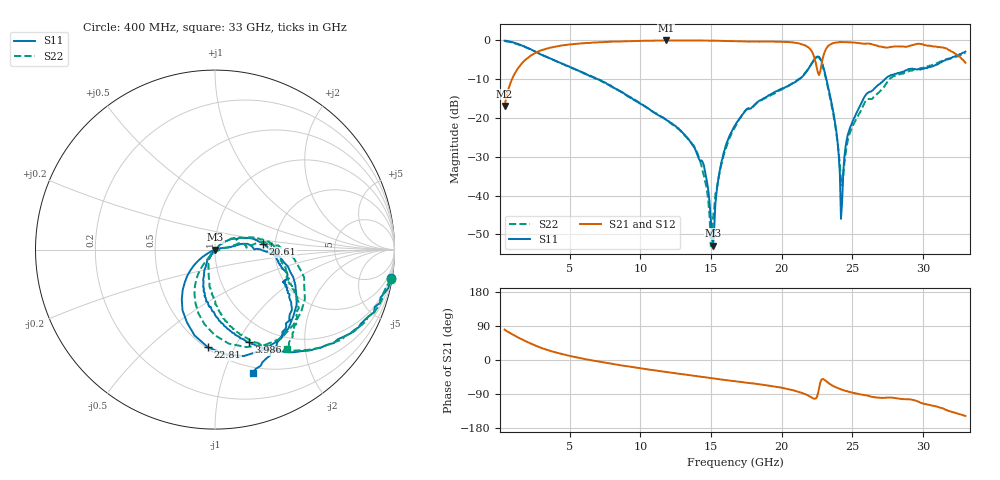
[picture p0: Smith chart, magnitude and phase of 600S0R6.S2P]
!  American Technical Ceramics  Date:  4/26/2005
!  One Norden Lane
!  Huntington Station,  NY.  11746-2102
!  Tel:  (631) 622-4700  Fax:  (631) 622-4748
!  Part Number  600S0R6  Mounting Orientation: Horizontal
!  Description: Ultra Low ESR Microwave capacitors
!  Application: Coupling, Bypass, Tuning, DC Block
!  Filters, Matching
# GHZ S DB R 50
! Freq  |S11|  S11 Ph  |S21|  S21 Ph  |S12|  S12 Ph  |S22|  S22 Ph
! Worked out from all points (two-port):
!   401 points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, 400 MHz to 33 GHz, reference 50 ohm
!   highest |S21| = 0.00 dB at 11.81 GHz (marker M1); lowest = -16.9 dB at 400 MHz (marker M2)
!   |S21| within 3 dB of the highest: 2.682 GHz to 22.16 GHz (19.48 GHz wide, 157 % of centre); 23.04 GHz to 32.12 GHz (9.082 GHz wide, 32.9 % of centre)
!   lowest |S11| = -52.9 dB at 15.15 GHz (marker M3), VSWR 1.00, Z = 50.2 - j0.0719 ohm
!   |S11| at or under -10 dB: 7.002 GHz to 21.24 GHz (14.24 GHz wide, 101 % of centre); 23.17 GHz to 27.31 GHz (4.143 GHz wide, 16.4 % of centre)
!   |S22| runs from -53.0 to 0.0 dB; largest |S21 - S12| = 0.014
!   S11 on the Smith chart (normalised r, x): 400 MHz: 1, -12; 3.986 GHz: 0.75, -1.11; 20.61 GHz: 1.72, +0.12; 22.81 GHz: 0.51, -0.79; 33 GHz: 0.44, -1.25
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0.4  -0.06 -9.2  -16.89 80.3  -16.84 80.1  -0.04 -9.6
1.623  -1.31 -34.7  -5.89 54.6  -5.91 53.6  -1.36 -36.5
3.986  -5.21 -70.1  -1.61 20.4  -1.63 20.3  -5.26 -68.2
5.861  -8.19 -87.1  -0.75 4.2  -0.74 4.3  -8.15 -82.5
11.321  -19.36 -118.7  -0.03 -28.9  -0.03 -28.9  -19.28 -109.2
11.81  -20.34 -120.5  0.00 -31.5  0.00 -31.3  -20.42 -112.8
14.418  -31.42 -122.8  -0.03 -45.0  -0.02 -44.9  -33.75 -131.2
14.907  -42.03 -119.3  -0.06 -47.3  -0.06 -47.2  -45.78 -111.4
15.152  -52.87 -18.4  -0.05 -48.5  -0.05 -48.3  -45.49 20.3
15.722  -31.62 44.4  -0.10 -51.5  -0.08 -51.3  -32.15 41.4
16.7  -21.90 36.9  -0.19 -56.0  -0.17 -56.2  -22.37 38.2
20.612  -11.43 6.8  -0.45 -78.3  -0.48 -78.3  -11.40 12.3
22.161  -5.79 -28.3  -3.00 -99.7  -2.98 -99.6  -5.68 -17.2
22.813  -5.28 -94.3  -6.34 -52.2  -6.34 -52.4  -5.52 -81.6
23.709  -19.55 -146.9  -0.64 -69.9  -0.68 -69.9  -20.25 -128.2
24.117  -34.28 -155.7  -0.42 -76.5  -0.47 -76.4  -32.06 -112.4
24.28  -41.47 12.7  -0.41 -78.7  -0.44 -78.6  -37.40 -45.9
24.606  -25.55 11.2  -0.44 -82.2  -0.49 -82.2  -27.18 8.5
25.013  -20.90 9.2  -0.49 -86.3  -0.55 -86.2  -22.17 10.3
27.621  -9.18 -8.6  -1.74 -99.1  -1.79 -98.8  -10.01 5.6
29.74  -7.40 -24.1  -0.85 -110.9  -0.87 -111.1  -7.39 -21.2
33  -2.88 -73.0  -5.73 -147.7  -5.75 -147.2  -3.30 -54.3
